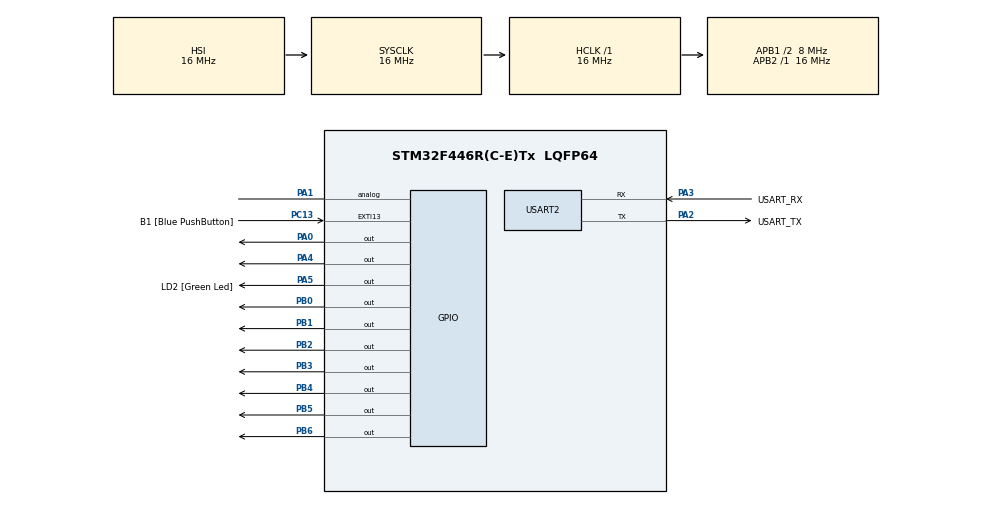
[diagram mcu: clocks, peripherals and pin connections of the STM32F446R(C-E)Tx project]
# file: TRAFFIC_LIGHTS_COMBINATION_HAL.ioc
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Mcu.Family=STM32F4
Mcu.Name=STM32F446R(C-E)Tx
Mcu.Package=LQFP64
NVIC.PriorityGroup=NVIC_PRIORITYGROUP_0
NVIC.TIM6_DAC_IRQn=true\:0\:0\:false\:false\:true\:true\:true\:true
PA0-WKUP.Signal=GPIO_Output
PA1.Signal=GPIO_Analog
PA13.GPIO_Label=TMS
PA13.Mode=Serial_Wire
PA13.Signal=SYS_JTMS-SWDIO
PA14.GPIO_Label=TCK
PA14.Mode=Serial_Wire
PA14.Signal=SYS_JTCK-SWCLK
PA2.GPIO_Label=USART_TX
PA2.Mode=Asynchronous
PA2.Signal=USART2_TX
PA3.GPIO_Label=USART_RX
PA3.Mode=Asynchronous
PA3.Signal=USART2_RX
PA4.Signal=GPIO_Output
PA5.GPIO_Label=LD2 [Green Led]
PA5.Signal=GPIO_Output
PB0.Signal=GPIO_Output
PB1.Signal=GPIO_Output
PB2.Signal=GPIO_Output
PB3.Signal=GPIO_Output
PB4.Signal=GPIO_Output
PB5.Signal=GPIO_Output
PB6.Signal=GPIO_Output
PC13.GPIO_Label=B1 [Blue PushButton]
PC13.GPIO_ModeDefaultEXTI=GPIO_MODE_IT_FALLING
PC13.Signal=GPXTI13
PC14-OSC32_IN.Mode=LSE-External-Oscillator
PC14-OSC32_IN.Signal=RCC_OSC32_IN
PC15-OSC32_OUT.Mode=LSE-External-Oscillator
PC15-OSC32_OUT.Signal=RCC_OSC32_OUT
PH0-OSC_IN.Mode=HSE-External-Oscillator
PH0-OSC_IN.Signal=RCC_OSC_IN
PH1-OSC_OUT.Mode=HSE-External-Oscillator
PH1-OSC_OUT.Signal=RCC_OSC_OUT
ProjectManager.HeapSize=0x200
ProjectManager.StackSize=0x400
ProjectManager.TargetToolchain=STM32CubeIDE
RCC.48MHZClocksFreq_Value=84000000
RCC.AHBFreq_Value=16000000
RCC.APB1CLKDivider=RCC_HCLK_DIV2
RCC.APB1Freq_Value=8000000
RCC.APB1TimFreq_Value=16000000
RCC.APB2Freq_Value=16000000
RCC.APB2TimFreq_Value=16000000
RCC.CortexFreq_Value=16000000
RCC.FLatency-AdvancedSettings=FLASH_LATENCY_0
RCC.HCLKFreq_Value=16000000
RCC.HSE_VALUE=8000000
RCC.HSI_VALUE=16000000
RCC.PLLN=336
RCC.PLLP=RCC_PLLP_DIV4
RCC.SYSCLKFreq_VALUE=16000000
RCC.USBFreq_Value=168000000
RCC.VCOOutputFreq_Value=336000000
TIM6.Period=1000
TIM6.Prescaler=15999
USART2.VirtualMode=VM_ASYNC
VP_TIM6_VS_ClockSourceINT.Mode=Enable_Timer
board=NUCLEO-F446RE

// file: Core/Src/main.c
/* USER CODE BEGIN Header */
/**
  ******************************************************************************
  * @file           : main.c
  * @brief          : Main program body
  ******************************************************************************
  * @attention
  *
  * Copyright (c) 2026 STMicroelectronics.
  * All rights reserved.
  *
  * This software is licensed under terms that can be found in the LICENSE file
  * in the root directory of this software component.
  * If no LICENSE file comes with this software, it is provided AS-IS.
  *
  ******************************************************************************
  */
/* USER CODE END Header */
#include "main.h"

TIM_HandleTypeDef htim6;

UART_HandleTypeDef huart2;

/* USER CODE BEGIN PV */
typedef enum
{
	RED_STATE,
	YELLOW1_STATE,
	GREEN_STATE,
	YELLOW2_STATE
}TrafficState_t;

TrafficState_t state = RED_STATE;
uint8_t count = 9;

/* USER CODE END PV */

void SystemClock_Config(void);
static void MX_GPIO_Init(void);
static void MX_USART2_UART_Init(void);
static void MX_TIM6_Init(void);

/* USER CODE BEGIN 0 */
const uint8_t seg[10] =
{
	0x3F, //0
	0x06, //1
	0x5B, //2
	0x4F, //3
	0x66, //4
	0x6D, //5
	0x7D, //6
	0x07, //7
	0x7F, //8
	0x6F  //9
};

void SevenSeg_Display(uint8_t num)
{
    uint16_t pins[7] =
    {
        GPIO_PIN_0,
        GPIO_PIN_1,
        GPIO_PIN_2,
        GPIO_PIN_3,
        GPIO_PIN_4,
        GPIO_PIN_5,
        GPIO_PIN_6
    };

    HAL_GPIO_WritePin(GPIOB,
            GPIO_PIN_0|GPIO_PIN_1|GPIO_PIN_2|
            GPIO_PIN_3|GPIO_PIN_4|GPIO_PIN_5|
            GPIO_PIN_6,
            GPIO_PIN_SET);

    for(int i=0;i<7;i++)
    {
        if(seg[num] & (1<<i))
        {
            HAL_GPIO_WritePin(GPIOB, pins[i], GPIO_PIN_RESET);
        }
    }
}

void Traffic_SetState(TrafficState_t s)
{
	HAL_GPIO_WritePin(GPIOA,
			GPIO_PIN_0|GPIO_PIN_1|GPIO_PIN_4,
			GPIO_PIN_RESET);

	switch(s)
	{
	case RED_STATE:

		HAL_GPIO_WritePin(GPIOA,GPIO_PIN_0,GPIO_PIN_SET);
		count = 9;
		break;

	case YELLOW1_STATE:

		HAL_GPIO_WritePin(GPIOA,GPIO_PIN_1,GPIO_PIN_SET);
		count = 3;
		break;

	case GREEN_STATE:

		HAL_GPIO_WritePin(GPIOA,GPIO_PIN_4,GPIO_PIN_SET);
		count = 9;
		break;

	case YELLOW2_STATE:

		HAL_GPIO_WritePin(GPIOA,GPIO_PIN_1,GPIO_PIN_SET);
		count = 3;
		break;
	}

	SevenSeg_Display(count);
}

/* USER CODE END 0 */

int main(void)
{

  /* MCU Configuration--------------------------------------------------------*/

  /* Reset of all peripherals, Initializes the Flash interface and the Systick. */
  HAL_Init();

  /* Configure the system clock */
  SystemClock_Config();

  /* Initialize all configured peripherals */
  MX_GPIO_Init();
  MX_USART2_UART_Init();
  MX_TIM6_Init();
  /* USER CODE BEGIN 2 */
  Traffic_SetState(RED_STATE);

  HAL_TIM_Base_Start_IT(&htim6);

  /* USER CODE END 2 */

  /* Infinite loop */
  while (1)
  {

  }
}

void SystemClock_Config(void)
{
  RCC_OscInitTypeDef RCC_OscInitStruct = {0};
  RCC_ClkInitTypeDef RCC_ClkInitStruct = {0};

  /** Configure the main internal regulator output voltage
  */
  __HAL_RCC_PWR_CLK_ENABLE();
  __HAL_PWR_VOLTAGESCALING_CONFIG(PWR_REGULATOR_VOLTAGE_SCALE3);

  /** Initializes the RCC Oscillators according to the specified parameters
  * in the RCC_OscInitTypeDef structure.
  */
  RCC_OscInitStruct.OscillatorType = RCC_OSCILLATORTYPE_HSI;
  RCC_OscInitStruct.HSIState = RCC_HSI_ON;
  RCC_OscInitStruct.HSICalibrationValue = RCC_HSICALIBRATION_DEFAULT;
  RCC_OscInitStruct.PLL.PLLState = RCC_PLL_NONE;
  if (HAL_RCC_OscConfig(&RCC_OscInitStruct) != HAL_OK)
  {
    Error_Handler();
  }

  /** Initializes the CPU, AHB and APB buses clocks
  */
  RCC_ClkInitStruct.ClockType = RCC_CLOCKTYPE_HCLK|RCC_CLOCKTYPE_SYSCLK
                              |RCC_CLOCKTYPE_PCLK1|RCC_CLOCKTYPE_PCLK2;
  RCC_ClkInitStruct.SYSCLKSource = RCC_SYSCLKSOURCE_HSI;
  RCC_ClkInitStruct.AHBCLKDivider = RCC_SYSCLK_DIV1;
  RCC_ClkInitStruct.APB1CLKDivider = RCC_HCLK_DIV2;
  RCC_ClkInitStruct.APB2CLKDivider = RCC_HCLK_DIV1;

  if (HAL_RCC_ClockConfig(&RCC_ClkInitStruct, FLASH_LATENCY_0) != HAL_OK)
  {
    Error_Handler();
  }
}

static void MX_TIM6_Init(void)
{

  TIM_MasterConfigTypeDef sMasterConfig = {0};

  htim6.Instance = TIM6;
  htim6.Init.Prescaler = 15999;
  htim6.Init.CounterMode = TIM_COUNTERMODE_UP;
  htim6.Init.Period = 1000;
  htim6.Init.AutoReloadPreload = TIM_AUTORELOAD_PRELOAD_DISABLE;
  if (HAL_TIM_Base_Init(&htim6) != HAL_OK)
  {
    Error_Handler();
  }
  sMasterConfig.MasterOutputTrigger = TIM_TRGO_RESET;
  sMasterConfig.MasterSlaveMode = TIM_MASTERSLAVEMODE_DISABLE;
  if (HAL_TIMEx_MasterConfigSynchronization(&htim6, &sMasterConfig) != HAL_OK)
  {
    Error_Handler();
  }

}

static void MX_USART2_UART_Init(void)
{

  huart2.Instance = USART2;
  huart2.Init.BaudRate = 115200;
  huart2.Init.WordLength = UART_WORDLENGTH_8B;
  huart2.Init.StopBits = UART_STOPBITS_1;
  huart2.Init.Parity = UART_PARITY_NONE;
  huart2.Init.Mode = UART_MODE_TX_RX;
  huart2.Init.HwFlowCtl = UART_HWCONTROL_NONE;
  huart2.Init.OverSampling = UART_OVERSAMPLING_16;
  if (HAL_UART_Init(&huart2) != HAL_OK)
  {
    Error_Handler();
  }

}

static void MX_GPIO_Init(void)
{
  GPIO_InitTypeDef GPIO_InitStruct = {0};

  /* GPIO Ports Clock Enable */
  __HAL_RCC_GPIOC_CLK_ENABLE();
  __HAL_RCC_GPIOH_CLK_ENABLE();
  __HAL_RCC_GPIOA_CLK_ENABLE();
  __HAL_RCC_GPIOB_CLK_ENABLE();

  /*Configure GPIO pin Output Level */
  HAL_GPIO_WritePin(GPIOA, GPIO_PIN_0|GPIO_PIN_4|LD2_Pin, GPIO_PIN_RESET);

  /*Configure GPIO pin Output Level */
  HAL_GPIO_WritePin(GPIOB, GPIO_PIN_0|GPIO_PIN_1|GPIO_PIN_2|GPIO_PIN_3
                          |GPIO_PIN_4|GPIO_PIN_5|GPIO_PIN_6, GPIO_PIN_RESET);

  /*Configure GPIO pin : B1_Pin */
  GPIO_InitStruct.Pin = B1_Pin;
  GPIO_InitStruct.Mode = GPIO_MODE_IT_FALLING;
  GPIO_InitStruct.Pull = GPIO_NOPULL;
  HAL_GPIO_Init(B1_GPIO_Port, &GPIO_InitStruct);

  /*Configure GPIO pins : PA0 PA4 LD2_Pin */
  GPIO_InitStruct.Pin = GPIO_PIN_0|GPIO_PIN_4|LD2_Pin;
  GPIO_InitStruct.Mode = GPIO_MODE_OUTPUT_PP;
  GPIO_InitStruct.Pull = GPIO_NOPULL;
  GPIO_InitStruct.Speed = GPIO_SPEED_FREQ_LOW;
  HAL_GPIO_Init(GPIOA, &GPIO_InitStruct);

  /*Configure GPIO pin : PA1 */
  GPIO_InitStruct.Pin = GPIO_PIN_1;
  GPIO_InitStruct.Mode = GPIO_MODE_ANALOG;
  GPIO_InitStruct.Pull = GPIO_NOPULL;
  HAL_GPIO_Init(GPIOA, &GPIO_InitStruct);

  /*Configure GPIO pins : PB0 PB1 PB2 PB3
                           PB4 PB5 PB6 */
  GPIO_InitStruct.Pin = GPIO_PIN_0|GPIO_PIN_1|GPIO_PIN_2|GPIO_PIN_3
                          |GPIO_PIN_4|GPIO_PIN_5|GPIO_PIN_6;
  GPIO_InitStruct.Mode = GPIO_MODE_OUTPUT_PP;
  GPIO_InitStruct.Pull = GPIO_NOPULL;
  GPIO_InitStruct.Speed = GPIO_SPEED_FREQ_LOW;
  HAL_GPIO_Init(GPIOB, &GPIO_InitStruct);

}

/* USER CODE BEGIN 4 */
void HAL_TIM_PeriodElapsedCallback(TIM_HandleTypeDef *htim)
{
	if(htim->Instance == TIM6)
	{
		if(count > 0)
		{
			count--;
			SevenSeg_Display(count);
		}
		else
		{
			switch(state)
			{
			case RED_STATE:
				state = YELLOW1_STATE;
				break;

			case YELLOW1_STATE:
				state = GREEN_STATE;
				break;

			case GREEN_STATE:
				state = YELLOW2_STATE;
				break;

			case YELLOW2_STATE:
				state = RED_STATE;
				break;
			}

			Traffic_SetState(state);
		}
	}
}

/* USER CODE END 4 */

void Error_Handler(void)
{
  __disable_irq();
  while (1)
  {
  }
}
